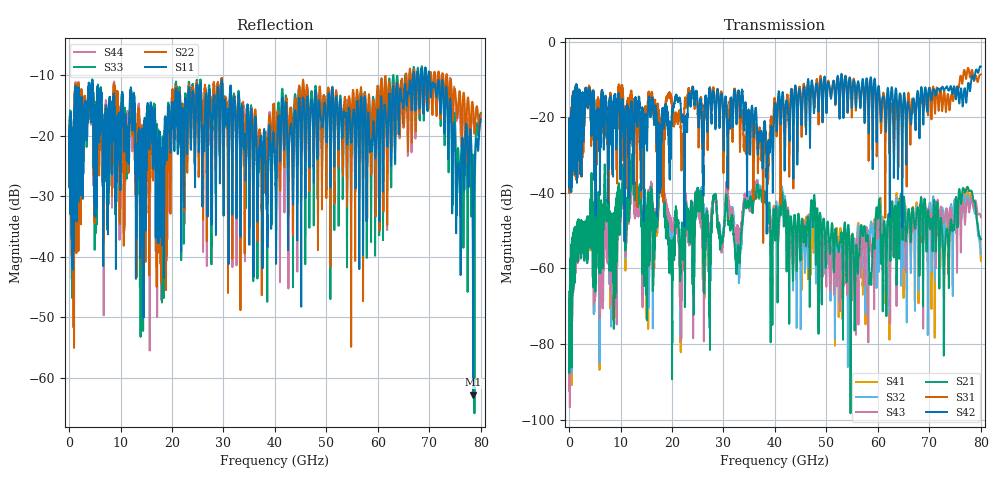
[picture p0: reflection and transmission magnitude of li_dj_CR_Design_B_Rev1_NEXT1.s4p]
! Intel Corp. Fri Apr 28 09:31:52 2023
! Port Configuration:
! Port 1 --|  |-- Port 2
! Port 3 --|  |-- Port 4
! Reference: li_dj_CR_Design_B_Rev1_reference.pdf
# HZ S DB R 50.00
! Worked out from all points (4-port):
!   8000 points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, 10 MHz to 80 GHz, reference 50 ohm
!   strongest paths, dB at 10 MHz, 20.01 GHz, 40.01 GHz, 60.01 GHz, 80 GHz:
!     S42: -28.7, -19.1, -16.5, -12.4, -6.6
!     S31: -28.6, -17.3, -15.4, -13.6, -8.7
!     S21: -84.0, -89.3, -52.6, -46.7, -52.3
!     S43: -87.6, -48.7, -44.8, -47.9, -46.4
!     S32: -86.0, -53.3, -45.1, -51.2, -56.2
!     S41: -85.9, -55.5, -46.3, -47.7, -58.0
!   lowest |S11| = -62.8 dB at 78.48 GHz (marker M1), VSWR 1.00, Z = 50 + j0.0654 ohm
!   |S11| at or under -10 dB: start of sweep to 66.85 GHz; 67.04 GHz to 67.58 GHz (545.1 MHz wide, 0.81 % of centre); 70.03 GHz to end of sweep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
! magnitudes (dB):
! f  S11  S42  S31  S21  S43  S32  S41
! 10 MHz  -23.3  -28.7  -28.6  -84.0  -87.6  -86.0  -85.9
! 12.25 GHz  -17.3  -19.0  -19.1  -29.7  -31.7  -30.5  -30.9
! 17.93 GHz  -24.2  -22.2  -28.6  -30.7  -30.9  -30.5  -31.4
! 19.76 GHz  -20.0  -23.0  -14.6  -54.2  -49.0  -51.2  -52.6
! 57.33 GHz  -14.9  -17.8  -17.0  -49.0  -56.6  -60.7  -62.1
! 78.48 GHz  -62.8  -9.4  -8.8  -41.5  -43.3  -43.4  -42.4
! 80 GHz  -17.3  -6.6  -8.7  -52.3  -46.4  -56.2  -58.0
